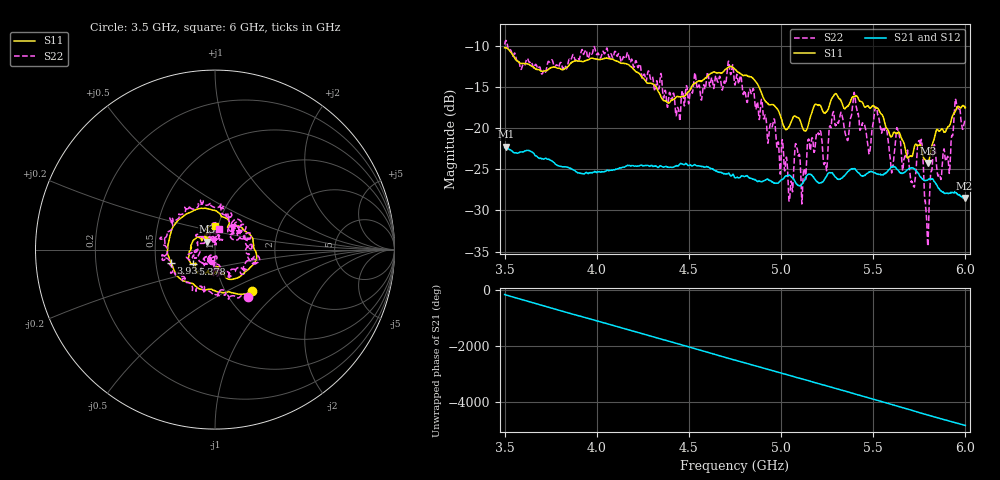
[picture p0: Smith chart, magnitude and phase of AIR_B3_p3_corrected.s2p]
! Created with skrf 1.9.0 (http://scikit-rf.org).
# Hz S RI R 50.0
!freq ReS11 ImS11 ReS21 ImS21 ReS12 ImS12 ReS22 ImS22
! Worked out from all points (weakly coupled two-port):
!   1601 points, 3.5 GHz to 6 GHz, reference 50 ohm
!   highest |S21| = -22.24 dB at 3.508 GHz (marker M1); lowest = -28.5 dB at 5.995 GHz (marker M2)
!   lowest |S11| = -24.2 dB at 5.795 GHz (marker M3), VSWR 1.13, Z = 45.7 + j4.03 ohm
!   |S11| at or under -10 dB: start of sweep to end of sweep
!   |S22| runs from -34.3 to -9.4 dB; largest |S21 - S12| = 0.0011
!   S11 on the Smith chart (normalised r, x): 3.5 GHz: 1.32, -0.67; 3.934 GHz: 0.60, -0.09; 5.378 GHz: 0.77, -0.12; 6 GHz: 0.96, +0.26
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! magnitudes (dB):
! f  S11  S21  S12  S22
! 3.5 GHz  -10.2  -22.4  -22.3  -9.8
! 3.508 GHz  -10.2  -22.2  -22.3  -9.4
! 3.917 GHz  -11.9  -25.5  -25.5  -10.6
! 3.934 GHz  -11.9  -25.5  -25.5  -10.7
! 4.334 GHz  -15.6  -24.8  -24.7  -15.3
! 4.441 GHz  -16.2  -24.6  -24.6  -17.6
! 4.75 GHz  -12.8  -26.0  -26.0  -14.8
! 4.958 GHz  -17.2  -26.6  -26.6  -19.2
! 5.052 GHz  -19.5  -25.8  -25.8  -27.0
! 5.084 GHz  -18.7  -26.8  -26.8  -22.4
! 5.167 GHz  -18.1  -25.7  -25.7  -21.2
! 5.241 GHz  -18.1  -26.1  -26.0  -24.3
! 5.275 GHz  -16.4  -25.4  -25.4  -18.9
! 5.378 GHz  -16.6  -25.0  -25.0  -18.7
! 5.584 GHz  -20.4  -25.1  -25.0  -22.0
! 5.636 GHz  -20.5  -25.1  -25.1  -20.3
! 5.716 GHz  -23.1  -24.8  -24.8  -26.9
! 5.755 GHz  -22.0  -25.9  -25.8  -22.0
! 5.795 GHz  -24.2  -26.3  -26.3  -34.2
! 5.828 GHz  -21.5  -26.4  -26.3  -22.2
! 5.995 GHz  -17.3  -28.5  -28.4  -19.2
! 6 GHz  -17.5  -28.4  -28.4  -18.8
